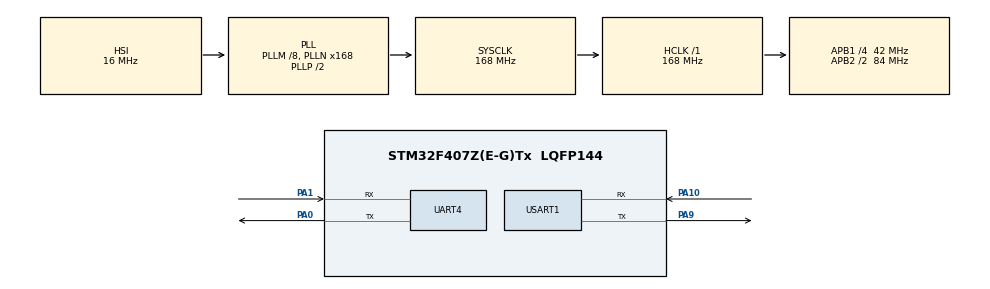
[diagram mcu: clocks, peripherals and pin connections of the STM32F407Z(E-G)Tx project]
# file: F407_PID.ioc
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Mcu.Family=STM32F4
Mcu.Name=STM32F407Z(E-G)Tx
Mcu.Package=LQFP144
NVIC.PriorityGroup=NVIC_PRIORITYGROUP_4
NVIC.UART4_IRQn=true\:0\:0\:false\:false\:true\:true\:true
NVIC.USART1_IRQn=true\:0\:0\:false\:false\:true\:true\:true
PA0-WKUP.Mode=Asynchronous
PA0-WKUP.Signal=UART4_TX
PA1.Mode=Asynchronous
PA1.Signal=UART4_RX
PA10.Mode=Asynchronous
PA10.Signal=USART1_RX
PA13.Mode=Serial_Wire
PA13.Signal=SYS_JTMS-SWDIO
PA14.Mode=Serial_Wire
PA14.Signal=SYS_JTCK-SWCLK
PA9.Mode=Asynchronous
PA9.Signal=USART1_TX
ProjectManager.HeapSize=0x200
ProjectManager.StackSize=0x400
ProjectManager.TargetToolchain=STM32CubeIDE
RCC.48MHZClocksFreq_Value=84000000
RCC.AHBFreq_Value=168000000
RCC.APB1CLKDivider=RCC_HCLK_DIV4
RCC.APB1Freq_Value=42000000
RCC.APB1TimFreq_Value=84000000
RCC.APB2CLKDivider=RCC_HCLK_DIV2
RCC.APB2Freq_Value=84000000
RCC.APB2TimFreq_Value=168000000
RCC.CortexFreq_Value=168000000
RCC.HCLKFreq_Value=168000000
RCC.HSE_VALUE=25000000
RCC.HSI_VALUE=16000000
RCC.LSE_VALUE=32768
RCC.PLLM=8
RCC.PLLN=168
RCC.SYSCLKFreq_VALUE=168000000
RCC.SYSCLKSource=RCC_SYSCLKSOURCE_PLLCLK
RCC.VCOOutputFreq_Value=336000000
UART4.VirtualMode=Asynchronous
USART1.VirtualMode=VM_ASYNC
board=custom

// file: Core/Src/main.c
/* USER CODE BEGIN Header */
/**
  ******************************************************************************
  * @file           : main.c
  * @brief          : Main program body
  ******************************************************************************
  * @attention
  *
  * Copyright (c) 2021 STMicroelectronics.
  * All rights reserved.
  *
  * This software is licensed under terms that can be found in the LICENSE file
  * in the root directory of this software component.
  * If no LICENSE file comes with this software, it is provided AS-IS.
  *
  ******************************************************************************
  */
/* USER CODE END Header */
#include "main.h"

/* USER CODE BEGIN Includes */
#include "stdio.h"
#include "arm_math.h"
/* USER CODE END Includes */

/* USER CODE BEGIN PTD */
#ifdef __GNUC__
#define PUTCHAR_PROTOTYPE int __io_putchar(int ch)
#else
#define PUTCHAR_PROTOTYPE int fputc(int ch, FILE *f)
#endif
PUTCHAR_PROTOTYPE
{
//此处用的是USART2
//你在使用时仅仅需要把’USART2‘改成你的串口就可以了
    while ((USART1->SR & 0X40) == 0);
    USART1->DR = (uint8_t) ch;
    return ch;
}

/* USER CODE END PTD */

UART_HandleTypeDef huart4;
UART_HandleTypeDef huart1;

void SystemClock_Config(void);
static void MX_GPIO_Init(void);
static void MX_UART4_Init(void);
static void MX_USART1_UART_Init(void);
/* USER CODE BEGIN PFP */
uint8_t imu_received0=0;
uint8_t imu_received1=0;
uint8_t get_new=0;
uint8_t Qs_origin[8];
float32_t QS[4];
/* USER CODE END PFP */

int main(void)
{

  /* MCU Configuration--------------------------------------------------------*/

  /* Reset of all peripherals, Initializes the Flash interface and the Systick. */
  HAL_Init();

  /* Configure the system clock */
  SystemClock_Config();

  /* Initialize all configured peripherals */
  MX_GPIO_Init();
  MX_UART4_Init();
  MX_USART1_UART_Init();
  /* USER CODE BEGIN 2 */
  char text[100]="hello world";
  HAL_UART_Receive_IT(&huart4, &imu_received1, 1);
  double float_test=3.14159;
  float32_t norm=1;
  /* USER CODE END 2 */

  /* Infinite loop */
  /* USER CODE BEGIN WHILE */
  float32_t Qs[4];
  while (1)
  {
	  //HAL_UART_Transmit(&huart1, text, 15, 100);
	  if(get_new==2)
	  {
		  get_new=0;
		  //HAL_UART_Transmit(&huart1, &Qs_origin, 8, 1000);
		  //printf("%dand%0.3f\n",get_new,float_test);
		  double length=0;
		  for(uint8_t i=0; i<4; i++)
		  {
			 QS[i]=(float32_t) (int16_t)(( (uint16_t)Qs_origin[i*2+1]<<8)|((uint16_t) Qs_origin[i*2]))/32768;
			 /*
			  QS[i]=(float32_t) (((uint16_t) Qs_origin[i*2+1])*256+((uint16_t) Qs_origin[i*2]));
			  if(QS[i]>=32768)
				  QS[i]-=256*256;
			  QS[i]/=32768;
			 // QS[i]=((uint16_t) Qs_origin[i*2+1]<<8|(uint16_t) Qs_origin[i*2]);
			 // QS[i]/=32768;
			  */
		  }
		  for(uint8_t i=0; i<4; i++)
		  {
			 //QS[i]=(float32_t) (((uint16_t) Qs_origin[i*2+1]<<8)|((uint16_t) Qs_origin[i*2]));
			 // QS[i]=((uint16_t) Qs_origin[i*2+1]<<8|(uint16_t) Qs_origin[i*2]);
			 // QS[i]/=32768;
		  }
		  //arm_dot_prod_f32(QS, QS, 4, &norm);
		  //arm_sqrt_f32(norm, &norm);
		  arm_scale_f32(QS, 1, Qs, 4);
		  //arm_quaternion_normalize_f32(QS, Qs, 1);
		  printf("Q0: %0.3f, Q1: %0.3f, Q2: %0.3f, Q3: %0.3f.\n",Qs[0], Qs[1], Qs[2], Qs[3]);
	  }
	  //
    /* USER CODE END WHILE */

  }
}

void SystemClock_Config(void)
{
  RCC_OscInitTypeDef RCC_OscInitStruct = {0};
  RCC_ClkInitTypeDef RCC_ClkInitStruct = {0};

  /** Configure the main internal regulator output voltage
  */
  __HAL_RCC_PWR_CLK_ENABLE();
  __HAL_PWR_VOLTAGESCALING_CONFIG(PWR_REGULATOR_VOLTAGE_SCALE1);
  /** Initializes the RCC Oscillators according to the specified parameters
  * in the RCC_OscInitTypeDef structure.
  */
  RCC_OscInitStruct.OscillatorType = RCC_OSCILLATORTYPE_HSI;
  RCC_OscInitStruct.HSIState = RCC_HSI_ON;
  RCC_OscInitStruct.HSICalibrationValue = RCC_HSICALIBRATION_DEFAULT;
  RCC_OscInitStruct.PLL.PLLState = RCC_PLL_ON;
  RCC_OscInitStruct.PLL.PLLSource = RCC_PLLSOURCE_HSI;
  RCC_OscInitStruct.PLL.PLLM = 8;
  RCC_OscInitStruct.PLL.PLLN = 168;
  RCC_OscInitStruct.PLL.PLLP = RCC_PLLP_DIV2;
  RCC_OscInitStruct.PLL.PLLQ = 4;
  if (HAL_RCC_OscConfig(&RCC_OscInitStruct) != HAL_OK)
  {
    Error_Handler();
  }
  /** Initializes the CPU, AHB and APB buses clocks
  */
  RCC_ClkInitStruct.ClockType = RCC_CLOCKTYPE_HCLK|RCC_CLOCKTYPE_SYSCLK
                              |RCC_CLOCKTYPE_PCLK1|RCC_CLOCKTYPE_PCLK2;
  RCC_ClkInitStruct.SYSCLKSource = RCC_SYSCLKSOURCE_PLLCLK;
  RCC_ClkInitStruct.AHBCLKDivider = RCC_SYSCLK_DIV1;
  RCC_ClkInitStruct.APB1CLKDivider = RCC_HCLK_DIV4;
  RCC_ClkInitStruct.APB2CLKDivider = RCC_HCLK_DIV2;

  if (HAL_RCC_ClockConfig(&RCC_ClkInitStruct, FLASH_LATENCY_5) != HAL_OK)
  {
    Error_Handler();
  }
}

static void MX_UART4_Init(void)
{

  huart4.Instance = UART4;
  huart4.Init.BaudRate = 115200;
  huart4.Init.WordLength = UART_WORDLENGTH_8B;
  huart4.Init.StopBits = UART_STOPBITS_1;
  huart4.Init.Parity = UART_PARITY_NONE;
  huart4.Init.Mode = UART_MODE_TX_RX;
  huart4.Init.HwFlowCtl = UART_HWCONTROL_NONE;
  huart4.Init.OverSampling = UART_OVERSAMPLING_16;
  if (HAL_UART_Init(&huart4) != HAL_OK)
  {
    Error_Handler();
  }

}

static void MX_USART1_UART_Init(void)
{

  huart1.Instance = USART1;
  huart1.Init.BaudRate = 115200;
  huart1.Init.WordLength = UART_WORDLENGTH_8B;
  huart1.Init.StopBits = UART_STOPBITS_1;
  huart1.Init.Parity = UART_PARITY_NONE;
  huart1.Init.Mode = UART_MODE_TX_RX;
  huart1.Init.HwFlowCtl = UART_HWCONTROL_NONE;
  huart1.Init.OverSampling = UART_OVERSAMPLING_16;
  if (HAL_UART_Init(&huart1) != HAL_OK)
  {
    Error_Handler();
  }

}

static void MX_GPIO_Init(void)
{

  /* GPIO Ports Clock Enable */
  __HAL_RCC_GPIOA_CLK_ENABLE();

}

/* USER CODE BEGIN 4 */
void HAL_UART_RxCpltCallback(UART_HandleTypeDef *huart)
{
	if(huart->Instance== UART4)
	{
		if(get_new==1)
		{
			get_new=2;
			imu_received0=0;
			HAL_UART_Receive_IT(&huart4, &imu_received1, 1);
			return;
		}
		if((imu_received0==0x55)&&(imu_received1==0x59))
		{
			get_new=1;
			HAL_UART_Receive_IT(&huart4, &Qs_origin, 8);
			return;
		}
		imu_received0=imu_received1;
		HAL_UART_Receive_IT(&huart4, &imu_received1, 1);

	}
}
/* USER CODE END 4 */

void Error_Handler(void)
{
  __disable_irq();
  while (1)
  {
  }
}
